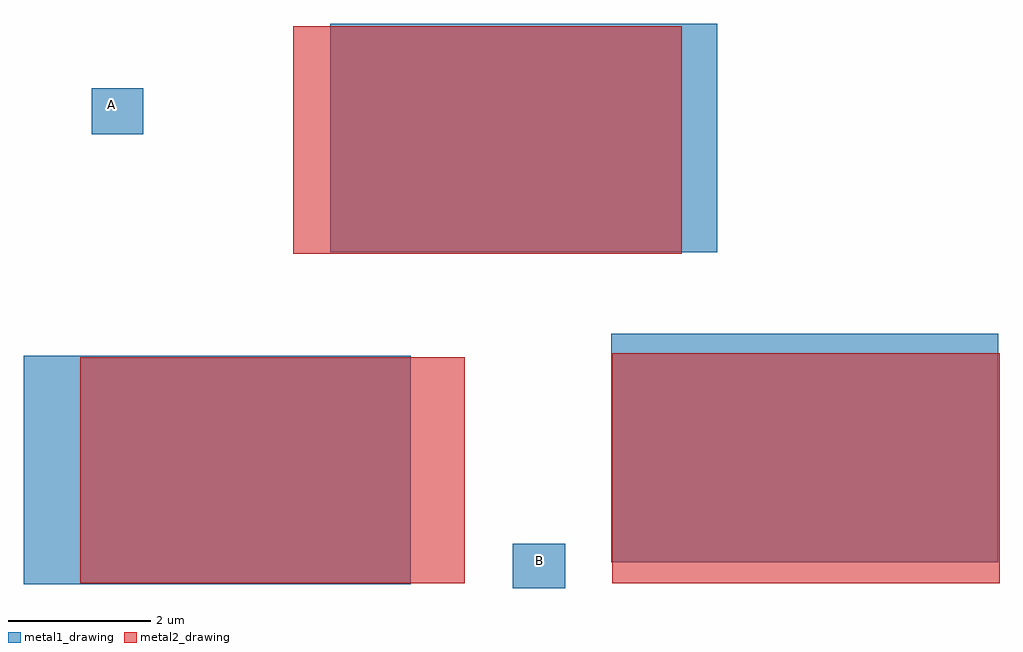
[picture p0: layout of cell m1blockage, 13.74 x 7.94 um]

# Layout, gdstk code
import gdstk
lib = gdstk.Library(unit=1e-6, precision=1e-09)
def R(c, l, rs):  # rectangles x0, y0, x1, y1
    for r in rs: c.add(gdstk.rectangle(r[:2], r[2:], *l))
metal1_drawing = (11, 0)
metal2_drawing = (13, 0)

m1blockage = lib.new_cell('m1blockage')
R(m1blockage, metal1_drawing, [(6.61,1.63,7.355,2.255), (-0.275,1.685,5.175,4.9), (8,1.995,13.45,5.21), (4.04,6.355,9.49,9.57), (0.685,8.02,1.41,8.665)])
R(m1blockage, metal2_drawing, [(0.524,1.694,5.936,4.876), (8.015,1.695,13.465,4.935), (3.52,6.335,8.99,9.535)])
m1blockage.add(gdstk.Label('B', (6.986,2.012), layer=11, texttype=0))
m1blockage.add(gdstk.Label('A', (0.96,8.432), layer=11, texttype=0))

lib.write_gds('m1blockage.gds')
